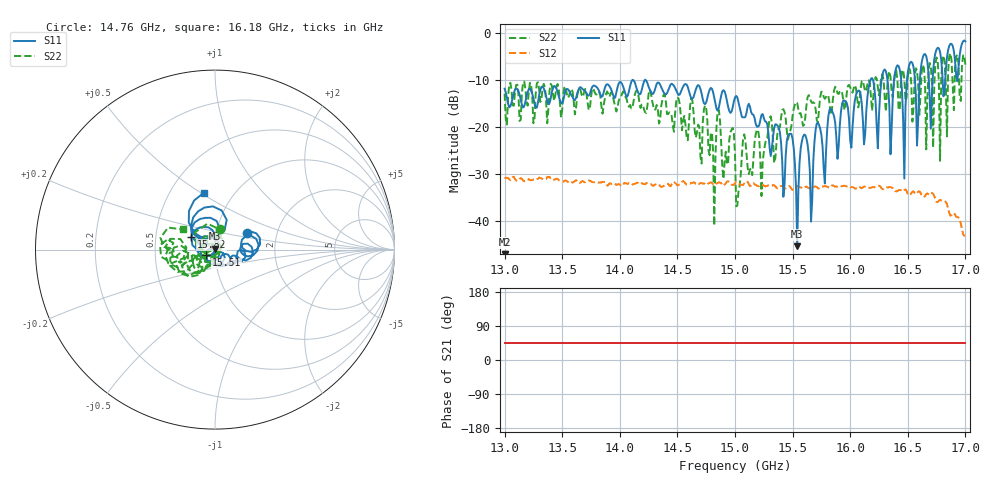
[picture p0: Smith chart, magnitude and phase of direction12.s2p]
!Keysight Technologies,P9374A,MY57211810,A.19.30.04
!Date: Friday, May 02, 2025 09:01:42
!Correction: S11(Off)
!S21(Off)
!S12(Off)
!S22(Off)
!S2P File: Measurements: S11, S21, S12, S22:
# Hz S  dB  R 50
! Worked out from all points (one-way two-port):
!   401 points, 13 GHz to 17 GHz, reference 50 ohm
!   highest |S21| = - dB at 13 GHz (marker M1); lowest = - dB at 13 GHz (marker M2)
!   lowest |S11| = -45.4 dB at 15.54 GHz (marker M3), VSWR 1.01, Z = 49.9 + j0.534 ohm
!   |S11| at or under -10 dB: start of sweep to 16.18 GHz; 16.19626 GHz to 16.2732 GHz (76.94 MHz wide, 0.474 % of centre); 16.32285 GHz to 16.38126 GHz (58.41 MHz wide, 0.357 % of centre) (the widest 3 of 8)
!   |S22| runs from -41.0 to -4.4 dB; largest |S21 - S12| = 0.029
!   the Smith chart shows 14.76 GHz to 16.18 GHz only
!   S11 on the Smith chart (normalised r, x): 14.76 GHz: 1.40, +0.27; 15.51 GHz: 0.90, -0.06; 15.82 GHz: 0.76, +0.11; 16.18 GHz: 0.73, +0.52
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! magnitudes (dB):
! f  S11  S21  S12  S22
! 13 GHz  -11.9  -  -31.0  -13.0
! 13.67 GHz  -11.8  -  -31.6  -13.3
! 14.34 GHz  -10.7  -  -32.2  -19.3
! 14.76 GHz  -13.9  -  -32.3  -18.7
! 15 GHz  -13.8  -  -32.0  -25.7
! 15.51 GHz  -24.6  -  -33.3  -16.1
! 15.54 GHz  -45.4  -  -32.6  -15.0
! 15.6 GHz  -21.7  -  -32.9  -19.6
! 15.67 GHz  -35.7  -  -33.2  -15.0
! 15.71 GHz  -19.3  -  -32.8  -18.6
! 15.78 GHz  -32.1  -  -32.6  -14.1
! 15.82 GHz  -16.4  -  -33.0  -15.0
! 16.12 GHz  -23.7  -  -32.7  -11.4
! 16.18 GHz  -9.8  -  -33.0  -13.5
! 16.34 GHz  -15.7  -  -32.8  -8.2
! 16.41 GHz  -6.9  -  -33.7  -10.1
! 16.47 GHz  -31.0  -  -33.5  -9.9
! 16.52 GHz  -6.4  -  -34.5  -8.0
! 16.58 GHz  -24.0  -  -34.0  -8.0
! 16.64 GHz  -4.6  -  -34.9  -7.5
! 16.7 GHz  -20.4  -  -34.4  -7.1
! 17 GHz  -1.9  -  -43.1  -6.8
